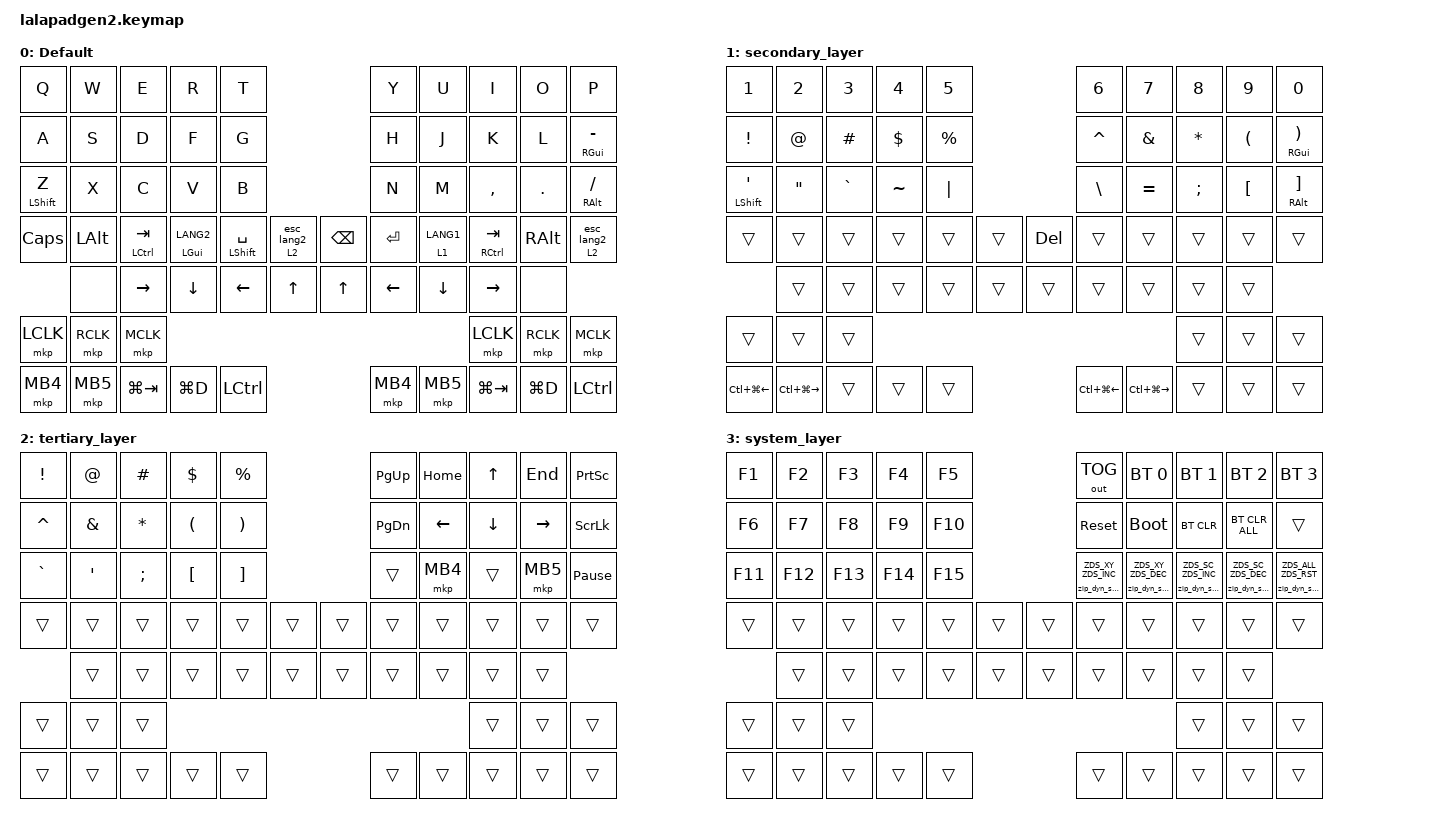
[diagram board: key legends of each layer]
#include <input/processors.dtsi>
#include <dt-bindings/zmk/zip_dynamic_scale.h>
#include <behaviors.dtsi>
#include <dt-bindings/zmk/bt.h>
#include <dt-bindings/zmk/keys.h>
#include <dt-bindings/zmk/outputs.h>
#include <dt-bindings/zmk/pointing.h>

#define DEFAULT_LAYER   0
#define SECONDARY_LAYER 1
#define TERTIARY_LAYER  2
#define SYSTEM_LAYER    3

&mt { quick-tap-ms = <200>; };

&lt { quick-tap-ms = <200>; };

/ {
    behaviors {
        zip_dyn_scale: zip_dyn_scale {
            compatible = "zmk,behavior-zip-dynamic-scale";
            #binding-cells = <2>;
        };

        zip_dyn_scale_set: zip_dyn_scale_set {
            compatible = "zmk,behavior-zip-dynamic-scale-set";
            #binding-cells = <2>;
        };

        mt2: mod_tap2 {
            compatible = "zmk,behavior-hold-tap";
            #binding-cells = <2>;
            flavor = "hold-preferred";
            tapping-term-ms = <200>;
            quick-tap-ms = <200>;
            require-prior-idle-ms = <125>;
            bindings = <&kp>, <&kp>;
        };

        tap_dance_layer_1and2: tap_dance_layer_1and2 {
            compatible = "zmk,behavior-tap-dance";
            label = "td_mo12";
            #binding-cells = <0>;
            bindings = <&mo 1>, <&mo 2>;
        };

        esc_lang2_mod: esc_lang2_mod {
            compatible = "zmk,behavior-hold-tap";
            label = "ESC_LANG2_MOD";
            bindings = <&kp>, <&esc_lang2>;

            #binding-cells = <2>;
            tapping-term-ms = <200>;
            quick-tap-ms = <200>;
            require-prior-idle-ms = <125>;
            flavor = "hold-preferred";
        };

        esc_lang2_layer: esc_lang2_layer {
            compatible = "zmk,behavior-hold-tap";
            label = "ESC_LANG2_LAYER";
            bindings = <&mo>, <&esc_lang2>;

            #binding-cells = <2>;
            tapping-term-ms = <200>;
            quick-tap-ms = <200>;
            require-prior-idle-ms = <125>;
            flavor = "hold-preferred";
        };

        mt_home: mt_home {
            compatible = "zmk,behavior-hold-tap";
            label = "MT_HOME";
            bindings = <&kp>, <&kp>;

            #binding-cells = <2>;
            tapping-term-ms = <280>;
            flavor = "balanced";
            quick-tap-ms = <175>;
            require-prior-idle-ms = <150>;
        };

        lt2: lt2 {
            compatible = "zmk,behavior-hold-tap";
            #binding-cells = <2>;
            flavor = "hold-preferred";
            tapping-term-ms = <200>;
            quick-tap-ms = <200>;
            require-prior-idle-ms = <125>;
            bindings = <&mo>, <&kp>;

            label = "LT2";
        };
    };

    combos { compatible = "zmk,combos"; };

    macros {
        esc_lang2: esc_lang2 {
            compatible = "zmk,behavior-macro";
            #binding-cells = <0>;
            bindings = <&kp ESCAPE &kp LANG2>;
            label = "ESC_LANG2";
        };
    };

    keymap {
        compatible = "zmk,keymap";

        DEFAULT_LAYER {
            display-name = "Default";
            bindings = <
&kp Q                  &kp W         &kp E                  &kp R            &kp T                                                       &kp Y      &kp U         &kp I                   &kp O          &kp P
&kp A                  &kp S         &kp D                  &kp F            &kp G                                                       &kp H      &kp J         &kp K                   &kp L          &mt_home RGUI MINUS
&mt_home LEFT_SHIFT Z  &kp X         &kp C                  &kp V            &kp B                                                       &kp N      &kp M         &kp COMMA               &kp PERIOD     &mt_home RIGHT_ALT SLASH
&kp CAPSLOCK           &kp LEFT_ALT  &mt2 LEFT_CONTROL TAB  &mt2 LGUI LANG2  &mt2 LEFT_SHIFT SPACE  &esc_lang2_layer 2 0  &kp BACKSPACE  &kp ENTER  &lt2 1 LANG1  &mt2 RIGHT_CONTROL TAB  &kp RIGHT_ALT  &esc_lang2_layer 2 0
                       &none         &kp RIGHT              &kp DOWN         &kp LEFT               &kp UP                &kp UP         &kp LEFT   &kp DOWN      &kp RIGHT               &none
&mkp LCLK              &mkp RCLK     &mkp MCLK                                                                                                                    &mkp LCLK               &mkp RCLK      &mkp MCLK
&mkp MB4               &mkp MB5      &kp LG(TAB)            &kp LG(D)        &kp LCTRL                                                   &mkp MB4   &mkp MB5      &kp LG(TAB)             &kp LG(D)      &kp LCTRL
            >;
        };

        SECONDARY_LAYER {
            display-name = "secondary_layer";
            bindings = <
&kp NUMBER_1                      &kp NUMBER_2       &kp NUMBER_3  &kp NUMBER_4  &kp N5                        &kp NUMBER_6      &kp NUMBER_7       &kp NUMBER_8   &kp NUMBER_9          &kp NUMBER_0
&kp EXCLAMATION                   &kp AT_SIGN        &kp HASH      &kp DOLLAR    &kp PERCENT                   &kp CARET         &kp AMPERSAND      &kp ASTERISK   &kp LEFT_PARENTHESIS  &mt_home RIGHT_GUI RIGHT_PARENTHESIS
&mt_home LEFT_SHIFT SINGLE_QUOTE  &kp DOUBLE_QUOTES  &kp GRAVE     &kp TILDE     &kp PIPE                      &kp BACKSLASH     &kp EQUAL          &kp SEMICOLON  &kp LEFT_BRACKET      &mt_home RIGHT_ALT RIGHT_BRACKET
&trans                            &trans             &trans        &trans        &trans       &trans  &kp DEL  &trans            &trans             &trans         &trans                &trans
                                  &trans             &trans        &trans        &trans       &trans  &trans   &trans            &trans             &trans         &trans
&trans                            &trans             &trans                                                                                         &trans         &trans                &trans
&kp LC(LG(LEFT))                  &kp LC(LG(RIGHT))  &trans        &trans        &trans                        &kp LC(LG(LEFT))  &kp LC(LG(RIGHT))  &trans         &trans                &trans
            >;
        };

        TERTIARY_LAYER {
            display-name = "tertiary_layer";
            bindings = <
&kp EXCLAMATION  &kp AT_SIGN    &kp HASH      &kp DOLLAR            &kp PERCENT                            &kp PAGE_UP    &kp HOME  &kp UP_ARROW    &kp END    &kp PRINTSCREEN
&kp CARET        &kp AMPERSAND  &kp ASTERISK  &kp LEFT_PARENTHESIS  &kp RIGHT_PARENTHESIS                  &kp PAGE_DOWN  &kp LEFT  &kp DOWN_ARROW  &kp RIGHT  &kp SCROLLLOCK
&kp GRAVE        &kp SQT        &kp SEMI      &kp LEFT_BRACKET      &kp RIGHT_BRACKET                      &trans         &mkp MB4  &trans          &mkp MB5   &kp PAUSE_BREAK
&trans           &trans         &trans        &trans                &trans                 &trans  &trans  &trans         &trans    &trans          &trans     &trans
                 &trans         &trans        &trans                &trans                 &trans  &trans  &trans         &trans    &trans          &trans
&trans           &trans         &trans                                                                                              &trans          &trans     &trans
&trans           &trans         &trans        &trans                &trans                                 &trans         &trans    &trans          &trans     &trans
            >;
        };

        SYSTEM_LAYER {
            display-name = "system_layer";
            bindings = <
&kp F1   &kp F2   &kp F3   &kp F4   &kp F5                   &out OUT_TOG                   &bt BT_SEL 0                   &bt BT_SEL 1                   &bt BT_SEL 2                   &bt BT_SEL 3
&kp F6   &kp F7   &kp F8   &kp F9   &kp F10                  &sys_reset                     &bootloader                    &bt BT_CLR                     &bt BT_CLR_ALL                 &trans
&kp F11  &kp F12  &kp F13  &kp F14  &kp F15                  &zip_dyn_scale ZDS_XY ZDS_INC  &zip_dyn_scale ZDS_XY ZDS_DEC  &zip_dyn_scale ZDS_SC ZDS_INC  &zip_dyn_scale ZDS_SC ZDS_DEC  &zip_dyn_scale ZDS_ALL ZDS_RST
&trans   &trans   &trans   &trans   &trans   &trans  &trans  &trans                         &trans                         &trans                         &trans                         &trans
         &trans   &trans   &trans   &trans   &trans  &trans  &trans                         &trans                         &trans                         &trans
&trans   &trans   &trans                                                                                                   &trans                         &trans                         &trans
&trans   &trans   &trans   &trans   &trans                   &trans                         &trans                         &trans                         &trans                         &trans
            >;
        };
    };

    conditional_layers {
        compatible = "zmk,conditional-layers";

        Cond_Syslayer {
            if-layers = <1 2>;
            then-layer = <3>;
        };
    };
};
